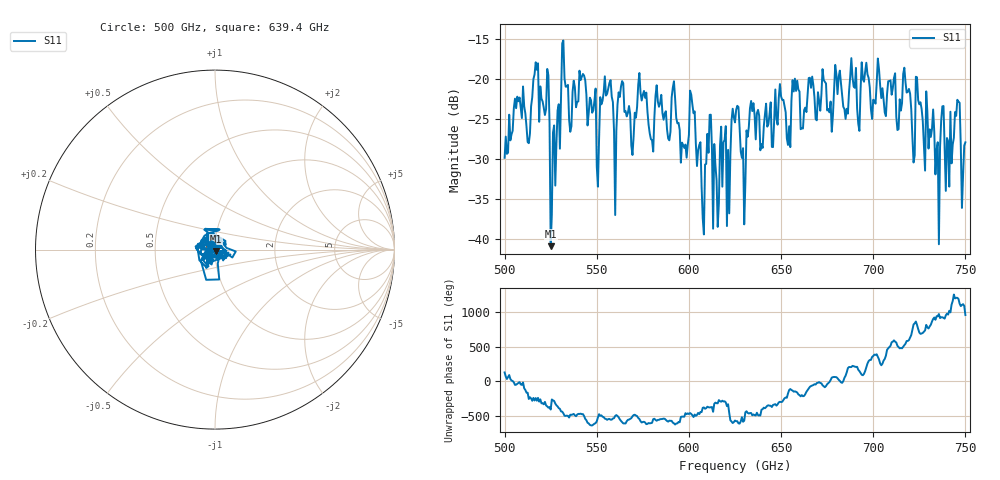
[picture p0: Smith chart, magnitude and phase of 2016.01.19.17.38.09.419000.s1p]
!Created with skrf (http://scikit-rf.org).
# GHz S RI R 50.0
!freq ReS11 ImS11
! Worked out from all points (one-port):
!   401 points, 500 GHz to 750 GHz, reference 50 ohm
!   lowest |S11| = -40.9 dB at 525 GHz (marker M1), VSWR 1.02, Z = 50.6 - j0.71 ohm
!   |S11| at or under -10 dB: start of sweep to end of sweep
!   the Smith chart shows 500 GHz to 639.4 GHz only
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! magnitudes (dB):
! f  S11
! 500 GHz  -29.9
! 506.9 GHz  -22.2
! 513.1 GHz  -28.0
! 516.9 GHz  -17.9
! 523.1 GHz  -18.7
! 525 GHz  -40.9
! 526.2 GHz  -26.7
! 531.2 GHz  -15.5
! 551.2 GHz  -27.5
! 553.1 GHz  -22.7
! 560 GHz  -37.0
! 562.5 GHz  -22.2
! 593.8 GHz  -25.5
! 598.1 GHz  -28.2
! 601.9 GHz  -23.2
! 608.1 GHz  -39.5
! 610.6 GHz  -29.2
! 614.4 GHz  -30.8
! 621.9 GHz  -36.8
! 625 GHz  -25.4
! 629.4 GHz  -28.6
! 634.4 GHz  -24.0
! 656.2 GHz  -20.1
! 687.5 GHz  -19.7
! 718.8 GHz  -21.6
! 735 GHz  -27.9
! 745.6 GHz  -22.6
! 750 GHz  -27.9
